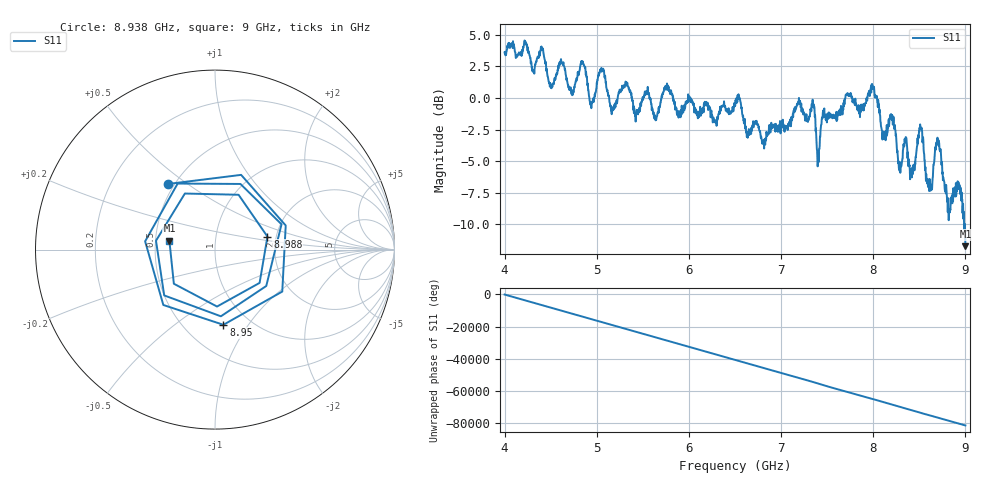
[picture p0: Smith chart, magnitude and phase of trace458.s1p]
! Created with skrf 1.8.0 (http://scikit-rf.org).
# Hz S RI R 50.0
!freq ReS11 ImS11
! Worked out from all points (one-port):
!   1601 points, 4 GHz to 9 GHz, reference 50 ohm
!   lowest |S11| = -11.7 dB at 9 GHz (marker M1), VSWR 1.70, Z = 29.6 + j3.13 ohm
!   |S11| at or under -10 dB: 8.986027 GHz to 8.993523 GHz (7.496 MHz wide, 0.0834 % of centre); 8.994175 GHz to end of sweep
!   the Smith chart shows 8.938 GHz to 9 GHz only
!   S11 on the Smith chart (normalised r, x): 8.938 GHz: 0.46, +0.42; 8.95 GHz: 0.76, -0.77; 8.988 GHz: 1.80, +0.29; 9 GHz: 0.59, +0.06
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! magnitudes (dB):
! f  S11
! 4 GHz  3.6
! 4.625 GHz  2.8
! 4.725 GHz  0.3
! 4.85 GHz  2.9
! 4.941 GHz  -0.8
! 5.053 GHz  2.1
! 5.162 GHz  -1.3
! 5.25 GHz  0.6
! 5.875 GHz  -1.2
! 6.5 GHz  -0.6
! 6.812 GHz  -3.3
! 7.125 GHz  -1.5
! 7.344 GHz  -0.1
! 7.406 GHz  -4.4
! 7.456 GHz  -1.1
! 7.75 GHz  0.2
! 7.994 GHz  0.9
! 8.109 GHz  -3.2
! 8.375 GHz  -4.3
! 8.425 GHz  -5.5
! 8.519 GHz  -2.5
! 8.606 GHz  -7.4
! 8.697 GHz  -3.1
! 8.819 GHz  -9.7
! 8.938 GHz  -6.9
! 8.95 GHz  -7.5
! 8.988 GHz  -10.4
! 9 GHz  -11.7
